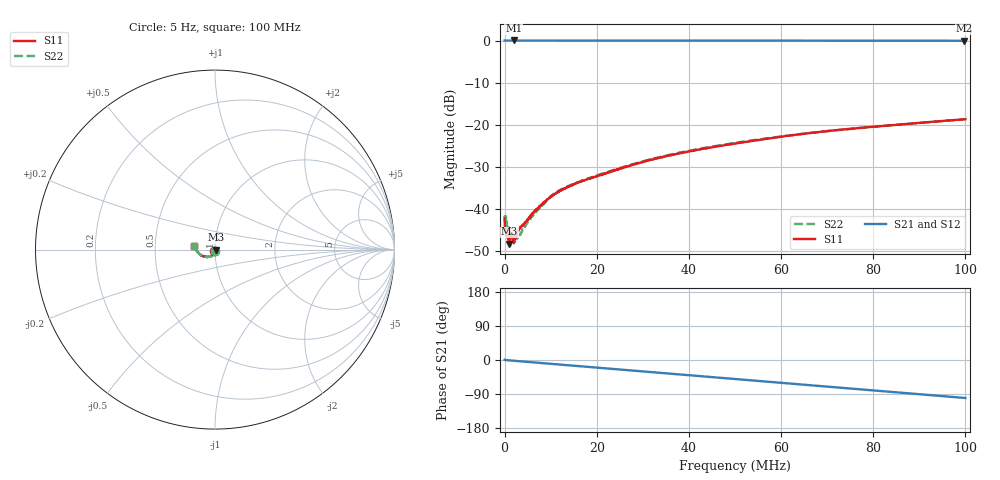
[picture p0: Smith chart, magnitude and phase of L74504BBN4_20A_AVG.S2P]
!Agilent Technologies,E5061B,MY49102235,A.02.00
!Date: Tue Jul 11 16:42:59 2023
!Data & Calibration Information:
!Freq	S11:SOLT2(ON)	S21:SOLT2(ON)	S12:SOLT2(ON)	S22:SOLT2(ON)
# Hz S RI R 50
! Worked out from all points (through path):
!   1600 points, 5 Hz to 100 MHz, reference 50 ohm
!   highest |S21| = 0.02 dB at 2.001 MHz (marker M1); lowest = -0.1 dB at 99.75 MHz (marker M2)
!   group delay of S21, straight-line fit = 2.79 ns
!   lowest |S11| = -48.3 dB at 1.001 MHz (marker M3), VSWR 1.01, Z = 50.4 - j0.0781 ohm
!   |S11| at or under -10 dB: start of sweep to end of sweep
!   |S22| runs from -48.9 to -18.7 dB; largest |S21 - S12| = 0.0027
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5  -0.00522 -0.00563  1.002 0.00795  1 0.0103  -0.00161 -0.00755
437778.6  0.00512 -0.000594  1.002 -0.00538  1.001 -0.00608  0.00659 -0.00224
625395.8  0.00508 -0.000624  1.002 -0.0106  1.002 -0.00997  0.00608 -0.00101
1000630  0.00378 -0.000776  1.001 -0.0166  1.001 -0.016  0.00517 -0.00169
1563482  0.00436 -0.00289  1.001 -0.0264  1.001 -0.0254  0.00317 -0.00348
2001256  0.00306 -0.00282  1.002 -0.0351  1.001 -0.0347  0.00319 -0.00255
2376490  0.00331 -0.003  0.9998 -0.0414  1 -0.0414  0.00398 -0.00268
3252037  0.00426 -0.00421  0.9995 -0.0569  0.9992 -0.0565  0.00318 -0.00371
4690436  0.00374 -0.00599  0.9977 -0.082  0.9974 -0.0818  0.00348 -0.00566
6003757  0.00332 -0.00791  0.9954 -0.1048  0.9954 -0.1045  0.00292 -0.00774
9505946  0.00145 -0.0131  0.9872 -0.1659  0.9873 -0.1655  0.000914 -0.0131
1.156974e7  -4.73e-05 -0.016  0.9807 -0.2013  0.9803 -0.2009  -0.00087 -0.0162
1.669794e7  -0.00394 -0.0209  0.958 -0.2884  0.9579 -0.2879  -0.00426 -0.0211
2.582865e7  -0.0113 -0.0288  0.9 -0.4372  0.8998 -0.4369  -0.00917 -0.0302
3.333334e7  -0.0202 -0.0348  0.8344 -0.5512  0.8344 -0.5507  -0.0188 -0.0361
4.040025e7  -0.0297 -0.0384  0.7596 -0.6495  0.7599 -0.6494  -0.0292 -0.0399
5.003127e7  -0.0441 -0.0402  0.6396 -0.7677  0.6396 -0.7673  -0.0443 -0.0416
6.672921e7  -0.0731 -0.0338  0.3905 -0.918  0.3909 -0.9178  -0.0724 -0.0342
8.33646e7  -0.0973 -0.0117  0.1108 -0.9899  0.1108 -0.9898  -0.0969 -0.0137
9.155722e7  -0.107 0.00335  -0.0319 -0.9944  -0.0317 -0.9944  -0.1069 0.000119
9.974984e7  -0.1143 0.0203  -0.1734 -0.9785  -0.173 -0.9787  -0.1142 0.0171
1e8  -0.1145 0.0207  -0.1777 -0.9779  -0.1774 -0.978  -0.1146 0.0178
